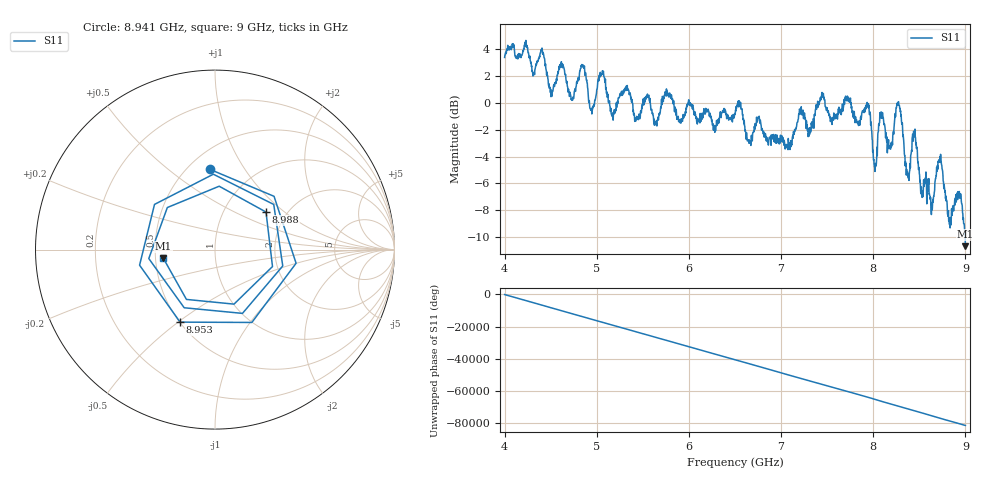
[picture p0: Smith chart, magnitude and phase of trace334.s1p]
! Created with skrf 1.8.0 (http://scikit-rf.org).
# Hz S RI R 50.0
!freq ReS11 ImS11
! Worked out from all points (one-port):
!   1601 points, 4 GHz to 9 GHz, reference 50 ohm
!   lowest |S11| = -10.7 dB at 9 GHz (marker M1), VSWR 1.82, Z = 27.5 - j2.92 ohm
!   |S11| at or under -10 dB: 8.997382 GHz to end of sweep
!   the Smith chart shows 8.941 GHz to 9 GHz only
!   S11 on the Smith chart (normalised r, x): 8.941 GHz: 0.64, +0.71; 8.953 GHz: 0.50, -0.51; 8.988 GHz: 1.57, +0.75; 9 GHz: 0.55, -0.06
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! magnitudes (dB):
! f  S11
! 4 GHz  3.4
! 4.409 GHz  4.0
! 4.503 GHz  0.5
! 4.625 GHz  2.9
! 4.728 GHz  0.2
! 4.856 GHz  2.8
! 4.947 GHz  -0.8
! 5.05 GHz  2.2
! 5.169 GHz  -1.0
! 5.25 GHz  0.6
! 5.875 GHz  -1.2
! 6.5 GHz  -0.9
! 7.125 GHz  -2.5
! 7.75 GHz  0.3
! 7.944 GHz  0.0
! 8.019 GHz  -5.1
! 8.084 GHz  -0.7
! 8.178 GHz  -3.2
! 8.272 GHz  0.1
! 8.375 GHz  -5.4
! 8.447 GHz  -2.3
! 8.631 GHz  -8.3
! 8.722 GHz  -4.4
! 8.831 GHz  -8.7
! 8.941 GHz  -7.0
! 8.953 GHz  -7.0
! 8.988 GHz  -9.0
! 9 GHz  -10.7
